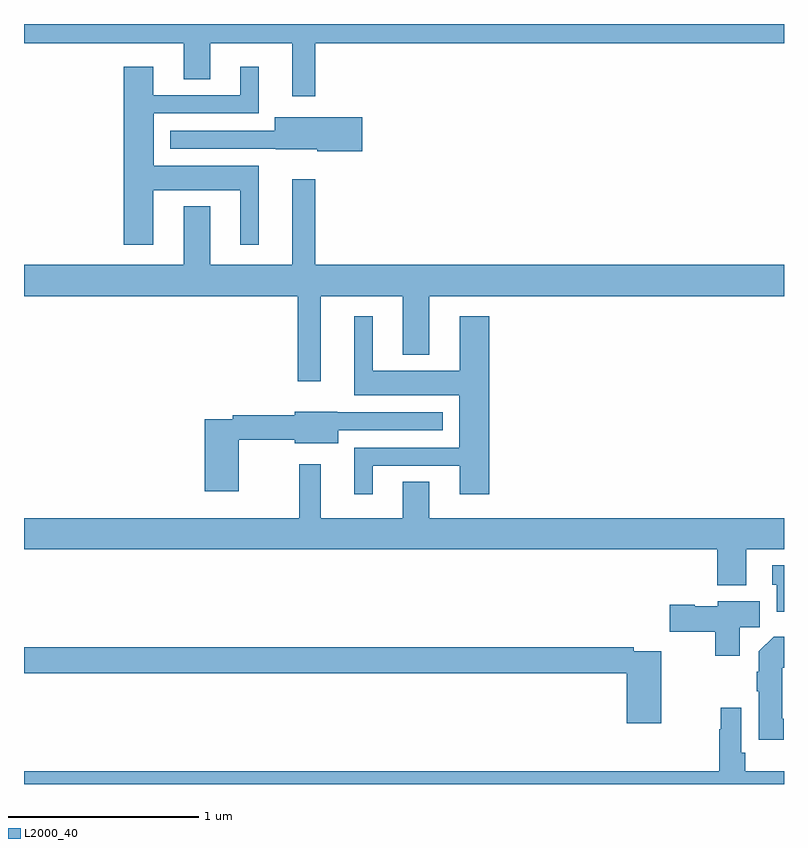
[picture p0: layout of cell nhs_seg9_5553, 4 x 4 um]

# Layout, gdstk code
import gdstk
lib = gdstk.Library(unit=1e-6, precision=1e-09)
def P(c, l, *ps):  # polygons
    for p in ps: c.add(gdstk.Polygon(p, *l))
L2000_40 = (2000, 40)

nhs_seg9_5553 = lib.new_cell('nhs_seg9_5553')
P(nhs_seg9_5553, L2000_40, [(434.533,1216.4),(437,1216.4),(437,1216.5),(433,1216.5),(433,1216.4),(433.841,1216.4),(433.841,1216.21),(433.981,1216.21),(433.981,1216.4),(434.411,1216.4),(434.411,1216.119),(434.533,1216.119)],
  [(433.681,1215.626),(434.138,1215.626),(434.138,1215.339),(434.236,1215.339),(434.236,1215.754),(433.684,1215.754),(433.684,1216.029),(434.236,1216.029),(434.236,1216.276),(434.138,1216.276),(434.138,1216.125),(433.681,1216.125),(433.681,1216.276),(433.526,1216.276),(433.526,1215.339),(433.681,1215.339)],
  [(434.779,1216.008),(434.321,1216.008),(434.321,1215.939),(433.769,1215.939),(433.769,1215.843),(434.325,1215.843),(434.325,1215.842),(434.544,1215.842),(434.544,1215.83),(434.779,1215.83)],
  [(434.563,1215.068),(434.993,1215.068),(434.993,1214.759),(435.133,1214.759),(435.133,1215.068),(437,1215.068),(437,1215.232),(434.533,1215.232),(434.533,1215.682),(434.411,1215.682),(434.411,1215.232),(433.981,1215.232),(433.981,1215.541),(433.841,1215.541),(433.841,1215.232),(433,1215.232),(433,1215.068),(434.442,1215.068),(434.442,1214.619),(434.563,1214.619)],
  [(434.836,1214.175),(435.293,1214.175),(435.293,1214.025),(435.449,1214.025),(435.449,1214.962),(435.293,1214.962),(435.293,1214.674),(434.836,1214.674),(434.836,1214.962),(434.738,1214.962),(434.738,1214.546),(435.29,1214.546),(435.29,1214.271),(434.738,1214.271),(434.738,1214.025),(434.836,1214.025)],
  [(434.13,1214.313),(434.426,1214.313),(434.426,1214.294),(434.653,1214.294),(434.653,1214.361),(435.205,1214.361),(435.205,1214.457),(434.649,1214.457),(434.649,1214.458),(434.426,1214.458),(434.426,1214.441),(434.098,1214.441),(434.098,1214.421),(433.952,1214.421),(433.952,1214.04),(434.13,1214.04)],
  [(436.801,1213.736),(437,1213.736),(437,1213.9),(435.133,1213.9),(435.133,1214.09),(434.993,1214.09),(434.993,1213.9),(434.563,1213.9),(434.563,1214.182),(434.449,1214.182),(434.449,1213.9),(433,1213.9),(433,1213.736),(436.649,1213.736),(436.649,1213.547),(436.801,1213.547)],
  [(437,1213.651),(436.937,1213.651),(436.937,1213.548),(436.961,1213.548),(436.961,1213.406),(437,1213.406)],
  [(436.768,1213.324),(436.873,1213.324),(436.873,1213.462),(436.65,1213.462),(436.65,1213.435),(436.53,1213.435),(436.53,1213.443),(436.398,1213.443),(436.398,1213.301),(436.639,1213.301),(436.639,1213.176),(436.768,1213.176)],
  [(436.998,1212.844),(436.99,1212.844),(436.99,1213.112),(437,1213.112),(437,1213.276),(436.946,1213.276),(436.868,1213.198),(436.868,1213.091),(436.856,1213.091),(436.856,1212.988),(436.868,1212.988),(436.868,1212.732),(436.998,1212.732)],
  [(436.355,1213.2),(436.208,1213.2),(436.208,1213.22),(433,1213.22),(433,1213.084),(436.172,1213.084),(436.172,1212.819),(436.355,1212.819)],
  [(437,1212.568),(436.796,1212.568),(436.796,1212.664),(436.776,1212.664),(436.776,1212.901),(436.668,1212.901),(436.668,1212.788),(436.66,1212.788),(436.66,1212.568),(433,1212.568),(433,1212.5),(437,1212.5)])

lib.write_gds('nhs_seg9_5553.gds')
